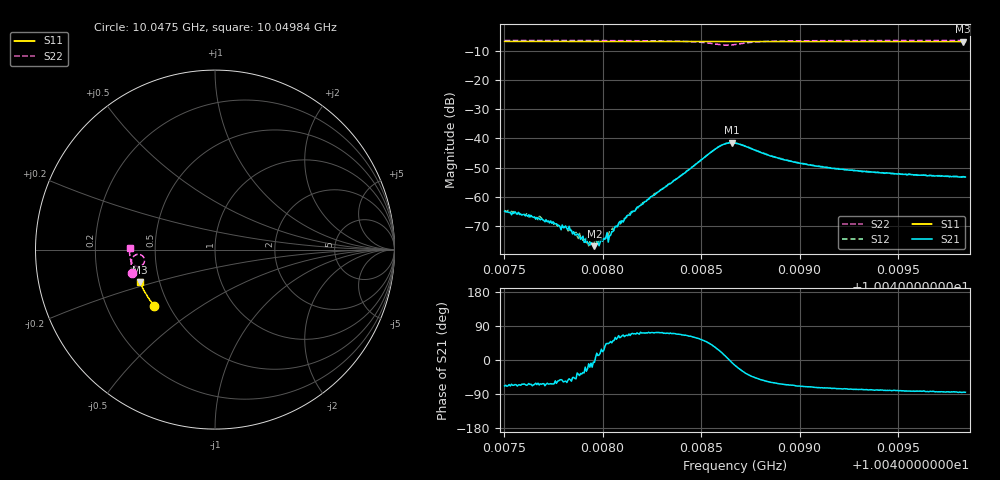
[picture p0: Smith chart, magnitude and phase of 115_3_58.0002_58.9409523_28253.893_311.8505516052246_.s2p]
#  HZ  S  RI  R  50.00
! Rohde & Schwarz Vector Network Analyzer
! Rohde-Schwarz,ZNB20-2Port,1311601062101988,3.16
! Created: UTC 3/21/2024, 12:55:23 AM
! freq[Hz]  re:S11  im:S11  re:S21  im:S21  re:S12  im:S12  re:S22  im:S22
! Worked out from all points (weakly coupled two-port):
!   401 points, 10.0475 GHz to 10.04984 GHz, reference 50 ohm
!   highest |S21| = -41.53 dB at 10.04865 GHz (marker M1); lowest = -77.0 dB at 10.04796 GHz (marker M2)
!   lowest |S11| = -6.8 dB at 10.04983 GHz (marker M3), VSWR 2.68, Z = 19.4 - j8.9 ohm
!   |S11| at or under -10 dB: nowhere
!   |S22| runs from -8.0 to -6.4 dB; largest |S21 - S12| = 0.00057
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1.0047503e10  -0.3379 -0.3122  0.000207 -0.000524  0.000249 -0.000501  -0.4601 -0.1292
1.004769e10  -0.3461 -0.3027  0.000183 -0.000374  0.000226 -0.000359  -0.4631 -0.1157
1.004779e10  -0.3501 -0.2976  0.000167 -0.000213  0.000202 -0.000254  -0.4645 -0.1081
1.0047819e10  -0.3512 -0.2959  0.000145 -0.000244  0.000175 -0.000242  -0.4647 -0.1059
1.0047895e10  -0.3544 -0.292  0.000157 -0.000118  0.000168 -0.000116  -0.4656 -0.1
1.004793e10  -0.3558 -0.2902  0.000154 -2.74e-05  0.00014 -2.86e-05  -0.4658 -0.0972
1.0047959e10  -0.357 -0.2886  0.000141 -1.55e-05  0.000166 1.75e-05  -0.4663 -0.0947
1.0047971e10  -0.3576 -0.288  0.000148 4.78e-05  0.000167 1.12e-05  -0.4665 -0.0937
1.0048018e10  -0.3594 -0.2855  0.00015 0.000137  0.00016 0.000108  -0.4669 -0.09
1.0048041e10  -0.3604 -0.2843  0.000143 0.000163  0.000172 0.000205  -0.467 -0.0878
1.0048076e10  -0.3617 -0.2825  0.000159 0.00026  0.000149 0.000277  -0.467 -0.0845
1.004814e10  -0.3643 -0.279  0.000208 0.000438  0.000174 0.000483  -0.4673 -0.0785
1.0048286e10  -0.3699 -0.2709  0.000369 0.00117  0.000324 0.0012  -0.4659 -0.0627
1.0048579e10  -0.3799 -0.2544  0.00585 0.00344  0.00562 0.00386  -0.4118 -0.0297
1.004862e10  -0.3811 -0.2524  0.00784 0.0017  0.00774 0.00215  -0.3951 -0.0475
1.0048655e10  -0.3822 -0.2507  0.00834 -0.000842  0.00844 -0.000302  -0.3941 -0.07
1.0048672e10  -0.3829 -0.2498  0.00803 -0.00204  0.00818 -0.00152  -0.399 -0.0799
1.00489e10  -0.391 -0.2371  0.00207 -0.00399  0.0023 -0.0039  -0.4614 -0.0756
1.0049064e10  -0.3964 -0.2277  0.0011 -0.00324  0.00126 -0.00323  -0.4701 -0.0564
1.0049456e10  -0.4082 -0.2046  0.000437 -0.0025  0.000561 -0.00249  -0.4757 -0.022
1.004983e10  -0.418 -0.1819  0.000197 -0.00219  0.000321 -0.00219  -0.4762 0.0057
1.0049841e10  -0.4184 -0.1812  0.000184 -0.00216  0.000339 -0.00216  -0.4763 0.00651
